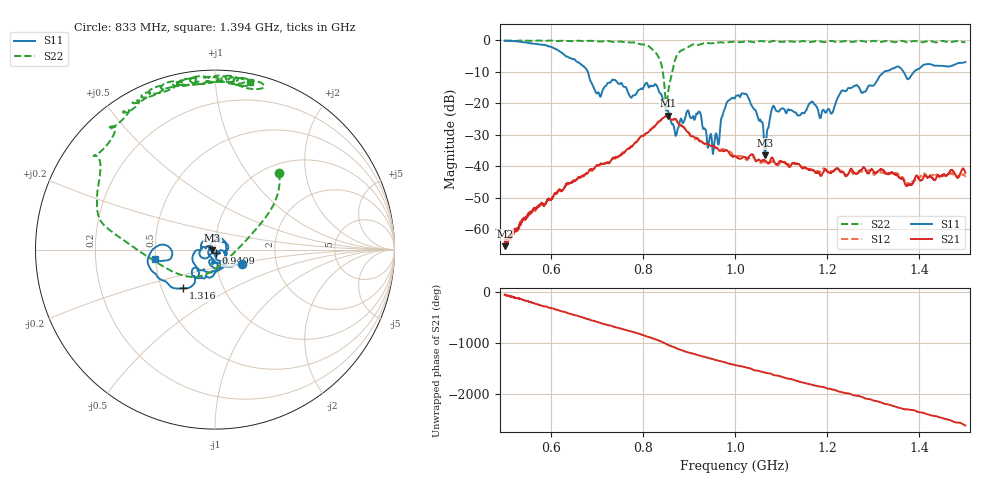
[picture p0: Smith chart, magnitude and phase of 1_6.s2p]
!Agilent Technologies,E8364B,US42250235,A.06.04.32
!Agilent E8364B: A.06.04.32
!Date: Thursday, October 01, 2020 11:18:00
!Correction: S11(Full 2 Port(1,2)) S21(Full 2 Port(1,2)) S12(Full 2 Port(1,2)) S22(Full 2 Port(1,2))
!S2P File: Measurements: S11, S21, S12, S22:
# Hz S  dB  R 50
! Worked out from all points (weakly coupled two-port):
!   2650 points, 500 MHz to 1.5 GHz, reference 50 ohm
!   highest |S21| = -24.04 dB at 854.5 MHz (marker M1); lowest = -65.4 dB at 501.1 MHz (marker M2)
!   lowest |S11| = -36.6 dB at 1.065 GHz (marker M3), VSWR 1.03, Z = 48.6 - j0.379 ohm
!   |S11| at or under -10 dB: 680.3 MHz to 1.324 GHz (644.1 MHz wide, 64.3 % of centre); 1.366 GHz to 1.389 GHz (23.4 MHz wide, 1.7 % of centre)
!   |S22| runs from -21.4 to -0.1 dB; largest |S21 - S12| = 0.0034
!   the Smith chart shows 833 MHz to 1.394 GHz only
!   S11 on the Smith chart (normalised r, x): 833 MHz: 1.33, -0.22; 940.9 MHz: 1.01, -0.04; 1.316 GHz: 0.65, -0.30; 1.394 GHz: 0.50, -0.06
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5e8  -0.19 -175.1  -63.57 -42.8  -64.37 -43.3  -0.24 136.6
5.011325e8  -0.19 -175.7  -65.43 -41.7  -64.50 -52.9  -0.24 136.3
5.985277e8  -2.07 120.8  -50.67 53.9  -50.65 55.2  -0.18 129.7
6.668554e8  -7.83 69.6  -43.26 -126.4  -43.53 -127.4  -0.32 121.8
7.046055e8  -16.87 70.8  -39.74 124.9  -39.87 130.6  -0.44 116.3
8.046433e8  -14.12 44.8  -29.92 -137.9  -29.98 -135.5  -1.46 82.8
8.329558e8  -15.46 -28.2  -26.05 134.4  -26.16 133.5  -5.09 49.9
8.337108e8  -15.82 -30.3  -25.93 131.2  -26.06 130.4  -5.29 48.7
8.544734e8  -22.36 -81.7  -24.04 46.2  -24.01 46.1  -17.14 -107.1
8.775009e8  -27.66 121.3  -26.68 -41.6  -26.32 -43.7  -4.04 167.8
9.212911e8  -22.74 -42.8  -31.60 -165.9  -31.83 -167.5  -1.53 135.8
9.409211e8  -34.18 -74.4  -33.04 147.1  -33.02 148.0  -0.95 131.3
1.000189e9  -18.23 -95.7  -36.79 4.5  -36.67 -0.9  -0.53 119.0
1.026991e9  -17.72 -163.6  -37.63 -50.4  -38.10 -59.1  -0.40 114.3
1.065496e9  -36.55 -164.8  -38.31 -147.6  -38.87 -152.0  -0.50 112.6
1.082861e9  -20.94 -156.8  -37.78 168.1  -38.66 165.8  -0.28 104.5
1.166667e9  -19.56 -80.6  -41.26 -26.1  -41.22 -33.5  -0.58 96.4
1.209702e9  -23.30 -91.5  -41.95 -116.4  -41.54 -128.1  -0.27 96.3
1.316157e9  -11.13 -129.4  -41.11 -14.9  -42.03 -25.7  -0.62 82.5
1.333522e9  -9.71 -147.1  -42.30 -59.9  -42.53 -65.5  -0.32 84.3
1.3943e9  -9.43 -171.4  -43.11 166.3  -43.75 163.1  -0.39 78.4
1.5e9  -6.99 141.7  -42.13 -112.6  -43.20 -115.3  -0.66 61.1
